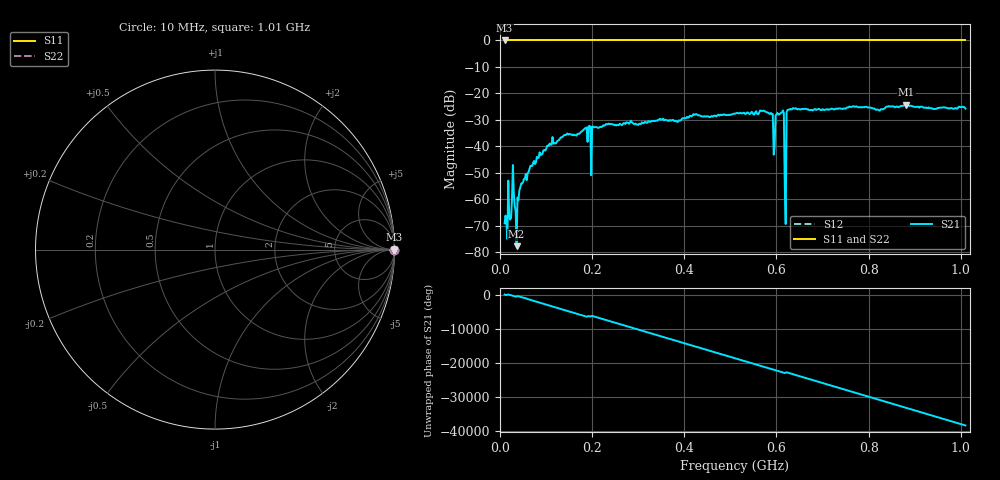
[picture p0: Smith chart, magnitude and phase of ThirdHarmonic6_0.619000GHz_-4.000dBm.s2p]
! 8/15/2025 8:20:00 PM
! C:\ANRITSUVNA\TEMP\TEMP.S2P
! CHANNEL.1
! TR.MEASUREMENT
! RAW.DATA
! RF.CORRECTION.OFF
! AVERAGING.OFF
! IF.BANDWIDTH: 5KHZ
! SWEEPTYPE:  FREQ.SWEEP(Linear)
! Reference Plane Port Info
! PORT:  PORT1  PORT2
! DISTANCE:  0  m  0  m
! TIME:  0  s  0  s
! PHASE.OFFSET:  0  deg.  0  deg.
! LOSS:  0  dB  0  dB
! REF.LOSS:  0  dB  0  dB
! REF.FREQ:  0  Hz  0  Hz
! Power Info
! POWER:  -20  dBm  -20  dBm
! EFF.POWER:  -20  dBm  -20  dBm
! SOURCE.ATTEN:  0  dB  0  dB
! TEST.ATTEN:  0  dB  0  dB
# GHZ S RI R 50.0
! FREQ.GHZ  S11RE  S11IM  S21RE  S21IM  S12RE  S12IM  S22RE  S22IM
!; PortSelection: Port_12
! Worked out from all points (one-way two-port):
!   501 points, 10 MHz to 1.01 GHz, reference 50 ohm
!   highest |S21| = -24.24 dB at 882 MHz (marker M1); lowest = -77.7 dB at 36 MHz (marker M2)
!   lowest |S11| = 0.0 dB at 10 MHz (marker M3)
!   |S11| at or under -10 dB: nowhere
!   |S22| runs from 0.0 to 0.0 dB; largest |S21 - S12| = 1.1
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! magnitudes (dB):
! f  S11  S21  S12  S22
! 10 MHz  0.0  -69.1  0.0  0.0
! 30 MHz  0.0  -58.2  0.0  0.0
! 36 MHz  0.0  -77.7  0.0  0.0
! 46 MHz  0.0  -54.0  0.0  0.0
! 84 MHz  0.0  -44.4  0.0  0.0
! 178 MHz  0.0  -34.3  0.0  0.0
! 192 MHz  0.0  -32.5  0.0  0.0
! 194 MHz  0.0  -32.2  0.0  0.0
! 204 MHz  0.0  -32.8  0.0  0.0
! 344 MHz  0.0  -30.0  0.0  0.0
! 510 MHz  0.0  -27.7  0.0  0.0
! 576 MHz  0.0  -26.9  0.0  0.0
! 596 MHz  0.0  -40.0  0.0  0.0
! 612 MHz  0.0  -27.2  0.0  0.0
! 616 MHz  0.0  -27.4  0.0  0.0
! 618 MHz  0.0  -54.3  0.0  0.0
! 622 MHz  0.0  -27.1  0.0  0.0
! 626 MHz  0.0  -26.2  0.0  0.0
! 678 MHz  0.0  -26.4  0.0  0.0
! 844 MHz  0.0  -24.8  0.0  0.0
! 882 MHz  0.0  -24.2  0.0  0.0
! 1.01 GHz  0.0  -25.7  0.0  0.0
